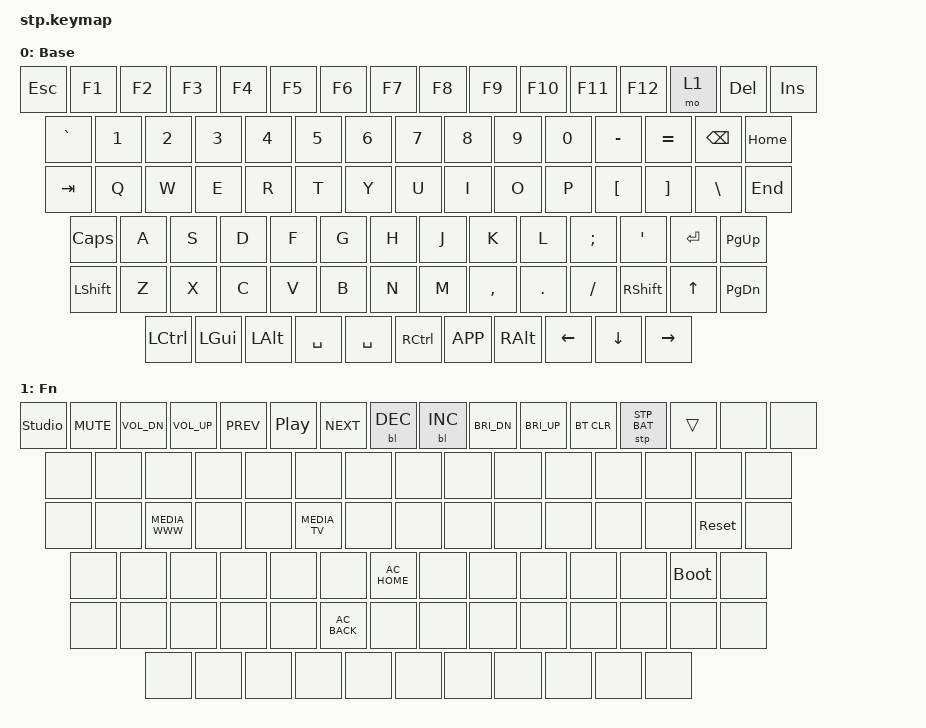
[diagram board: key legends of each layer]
#include <behaviors.dtsi>
#include <dt-bindings/zmk/backlight.h>
#include <dt-bindings/zmk/bt.h>
#include <dt-bindings/zmk/keys.h>
#include <dt-bindings/zmk/reset.h>
#include <dt-bindings/zmk/outputs.h>
#include <dt-bindings/zmk/stp.h>


/ {
    keymap {
        compatible = "zmk,keymap";

        default_layer {
            // ------------------------------------------------------------------------------------------------------------
            // | ESC | F1  | F2  | F3  | F4  | F5  | F6  | F7  | F9  | F9  | F10 | F11 | F12 | 1 | DEL | INS    |
            // |  `  |  1  |  2  |  3  |  4  |  5  |  6  |  7  |  8  |  9  |  0  |  -  |  =  |   BKSP   | HOME  |
            // | TAB  |  Q  |  W  |  E  |  R  |  T  |  Y  |  U  |  I  |  O  |  P  |  [  |  ]  |    \    | END |
            // | CAPS  |  A  |  S  |  D  |  F  |  G  |  H  |  J  |  K  |  L  |  ;  |  '  |     ENTER     | PG UP |
            // |  SHIFT    |  Z  |  X  |  C  |  V  |  B  |  N  |  M  |  ,  |  .  | /   |    SHIFT |  UP  |  PG DN  |
            // |  CTL  |  WIN  |  ALT  |   SPACE   |  |  SPACE    | CTRL | MENU | ALT |  LEFT | DOWN | RIGHT |
            // ------------------------------------------------------------------------------------------------------------
            display-name = "Base";

            bindings = <
            &kp ESC     &kp F1    &kp F2    &kp F3     &kp F4     &kp F5    &kp F6  &kp F7    &kp F8    &kp F9   &kp F10    &kp F11    &kp F12    &mo 1    &kp DEL  &kp INS
            &kp GRAVE   &kp N1    &kp N2    &kp N3     &kp N4     &kp N5    &kp N6  &kp N7    &kp N8    &kp N9    &kp N0  &kp MINUS  &kp EQUAL             &kp BACKSPACE      &kp HOME
            &kp TAB        &kp Q     &kp W     &kp E      &kp R      &kp T     &kp Y   &kp U      &kp I     &kp O     &kp P   &kp LBKT   &kp RBKT         &kp BSLH            &kp END
            &kp CLCK          &kp A     &kp S     &kp D      &kp F      &kp G     &kp H   &kp J      &kp K     &kp L  &kp SEMI    &kp SQT              &kp RET                &kp PG_UP
            &kp LSHFT            &kp Z     &kp X     &kp C      &kp V      &kp B     &kp N   &kp M  &kp COMMA   &kp DOT  &kp FSLH           &kp RSHFT          &kp UP         &kp PG_DN
            &kp LCTRL     &kp LGUI     &kp LALT           &kp SPACE                                 &kp SPACE            &kp RCTRL   &kp K_APP  &kp RALT  &kp LEFT  &kp DOWN  &kp RIGHT
            >;
        };

                raise {
            display-name = "Fn";
            bindings = <
            &studio_unlock       &kp C_MUTE     &kp C_VOL_DN    &kp C_VOL_UP  &kp C_PREV  &kp C_PP       &kp C_NEXT  &bl BL_DEC  &bl BL_INC  &kp C_BRI_DN  &kp C_BRI_UP  &bt BT_CLR     &stp STP_BAT       &trans  &none  &none
            &none       &none          &none           &none         &none       &none          &none       &none       &none       &none         &none         &none          &none           &none      &none
            &none       &none          &kp C_MEDIA_WWW &none         &none       &kp C_MEDIA_TV &none      &none     &none        &none     &none    &none  &none       &sys_reset  &none
            &none       &none          &none     &none     &none    &none      &kp C_AC_HOME    &none      &none        &none      &none   &none      &bootloader  &none
            &none       &none          &none   &none      &none   &kp C_AC_BACK      &none      &none      &none       &none    &none  &none          &none       &none
            &none       &none          &none     &none    &none      &none      &none  &none        &none        &none  &none
            >;
        };
        extra1 {
            status = "reserved";
        };

        extra2 {
            status = "reserved";
        };
        extra3 {
            status = "reserved";
        };

        extra4 {
            status = "reserved";
        };
        extra5 {
            status = "reserved";
        };

        extra6 {
            status = "reserved";
        };
    };
};
